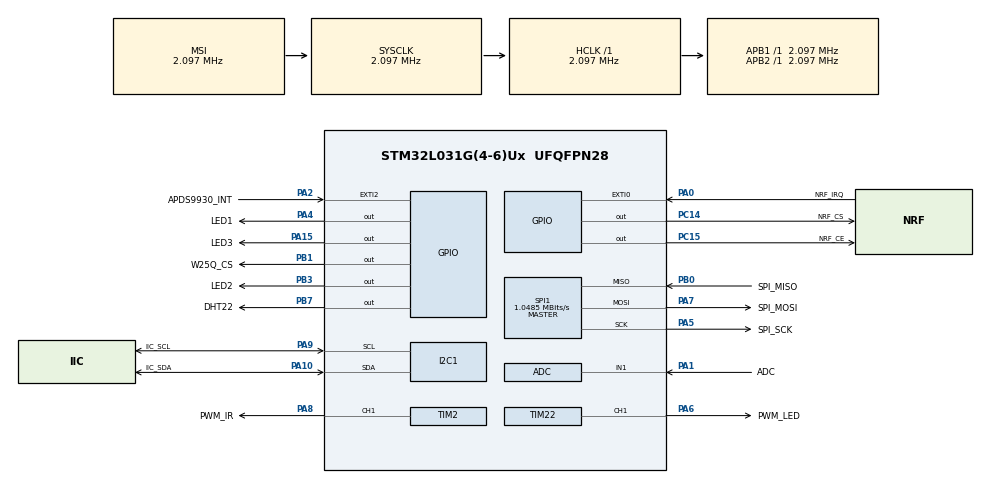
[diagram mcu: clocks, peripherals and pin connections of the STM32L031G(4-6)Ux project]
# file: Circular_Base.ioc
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Dma.I2C1_RX.0.Direction=DMA_PERIPH_TO_MEMORY
Dma.I2C1_RX.0.Instance=DMA1_Channel7
Dma.I2C1_RX.0.MemDataAlignment=DMA_MDATAALIGN_BYTE
Dma.I2C1_RX.0.MemInc=DMA_MINC_ENABLE
Dma.I2C1_RX.0.Mode=DMA_NORMAL
Dma.I2C1_RX.0.PeriphDataAlignment=DMA_PDATAALIGN_BYTE
Dma.I2C1_RX.0.PeriphInc=DMA_PINC_DISABLE
Dma.I2C1_RX.0.Priority=DMA_PRIORITY_LOW
Dma.I2C1_TX.1.Direction=DMA_MEMORY_TO_PERIPH
Dma.I2C1_TX.1.Instance=DMA1_Channel6
Dma.I2C1_TX.1.MemDataAlignment=DMA_MDATAALIGN_BYTE
Dma.I2C1_TX.1.MemInc=DMA_MINC_ENABLE
Dma.I2C1_TX.1.Mode=DMA_NORMAL
Dma.I2C1_TX.1.PeriphDataAlignment=DMA_PDATAALIGN_BYTE
Dma.I2C1_TX.1.PeriphInc=DMA_PINC_DISABLE
Dma.I2C1_TX.1.Priority=DMA_PRIORITY_LOW
Dma.Request0=I2C1_RX
Dma.Request1=I2C1_TX
Dma.Request2=SPI1_RX
Dma.Request3=SPI1_TX
Dma.SPI1_RX.2.Direction=DMA_PERIPH_TO_MEMORY
Dma.SPI1_RX.2.Instance=DMA1_Channel2
Dma.SPI1_RX.2.MemDataAlignment=DMA_MDATAALIGN_BYTE
Dma.SPI1_RX.2.MemInc=DMA_MINC_ENABLE
Dma.SPI1_RX.2.Mode=DMA_NORMAL
Dma.SPI1_RX.2.PeriphDataAlignment=DMA_PDATAALIGN_BYTE
Dma.SPI1_RX.2.PeriphInc=DMA_PINC_DISABLE
Dma.SPI1_RX.2.Priority=DMA_PRIORITY_LOW
Dma.SPI1_TX.3.Direction=DMA_MEMORY_TO_PERIPH
Dma.SPI1_TX.3.Instance=DMA1_Channel3
Dma.SPI1_TX.3.MemDataAlignment=DMA_MDATAALIGN_BYTE
Dma.SPI1_TX.3.MemInc=DMA_MINC_ENABLE
Dma.SPI1_TX.3.Mode=DMA_NORMAL
Dma.SPI1_TX.3.PeriphDataAlignment=DMA_PDATAALIGN_BYTE
Dma.SPI1_TX.3.PeriphInc=DMA_PINC_DISABLE
Dma.SPI1_TX.3.Priority=DMA_PRIORITY_LOW
FREERTOS.Tasks01=defaultTask,0,128,StartDefaultTask,Default,NULL,Dynamic,NULL,NULL
FREERTOS.configMINIMAL_STACK_SIZE=64
FREERTOS.configTOTAL_HEAP_SIZE=5120
Mcu.Family=STM32L0
Mcu.Name=STM32L031G(4-6)Ux
Mcu.Package=UFQFPN28
NVIC.DMA1_Channel2_3_IRQn=true\:3\:0\:false\:false\:true\:true\:false\:true\:true
NVIC.DMA1_Channel4_5_6_7_IRQn=true\:3\:0\:false\:false\:true\:true\:false\:true\:true
NVIC.I2C1_IRQn=true\:3\:0\:false\:false\:true\:true\:true\:true\:true
NVIC.TIM21_IRQn=true\:3\:0\:false\:false\:true\:false\:false\:true\:true
NVIC.TimeBase=TIM21_IRQn
NVIC.TimeBaseIP=TIM21
PA0-CK_IN.GPIO_Label=NRF_IRQ
PA0-CK_IN.Signal=GPXTI0
PA1.GPIO_Label=ADC
PA1.Mode=IN1
PA1.Signal=ADC_IN1
PA10.GPIO_Label=IIC_SDA
PA10.Mode=I2C
PA10.Signal=I2C1_SDA
PA13.Mode=Serial_Wire
PA13.Signal=SYS_SWDIO
PA14.Mode=Serial_Wire
PA14.Signal=SYS_SWCLK
PA15.GPIO_Label=LED3
PA15.Signal=GPIO_Output
PA2.GPIO_Label=APDS9930_INT
PA2.Signal=GPXTI2
PA3.Signal=USART2_RX
PA4.GPIO_Label=LED1
PA4.Signal=GPIO_Output
PA5.GPIO_Label=SPI_SCK
PA5.Mode=Full_Duplex_Master
PA5.Signal=SPI1_SCK
PA6.GPIO_Label=PWM_LED
PA6.Signal=S_TIM22_CH1
PA7.GPIO_Label=SPI_MOSI
PA7.Mode=Full_Duplex_Master
PA7.Signal=SPI1_MOSI
PA8.GPIO_Label=PWM_IR
PA8.Signal=S_TIM2_CH1
PA9.GPIO_Label=IIC_SCL
PA9.Mode=I2C
PA9.Signal=I2C1_SCL
PB0.GPIO_Label=SPI_MISO
PB0.Mode=Full_Duplex_Master
PB0.Signal=SPI1_MISO
PB1.GPIO_Label=W25Q_CS
PB1.Signal=GPIO_Output
PB3.GPIO_Label=LED2
PB3.Signal=GPIO_Output
PB6.Signal=USART2_TX
PB7.GPIO_Label=DHT22
PB7.Signal=GPIO_Output
PC14-OSC32_IN.GPIO_Label=NRF_CS
PC14-OSC32_IN.Signal=GPIO_Output
PC15-OSC32_OUT.GPIO_Label=NRF_CE
PC15-OSC32_OUT.Signal=GPIO_Output
ProjectManager.HeapSize=0x200
ProjectManager.StackSize=0x400
ProjectManager.TargetToolchain=MDK-ARM V5.32
RCC.AHBFreq_Value=2097000
RCC.APB1Freq_Value=2097000
RCC.APB1TimFreq_Value=2097000
RCC.APB2Freq_Value=2097000
RCC.APB2TimFreq_Value=2097000
RCC.HSE_VALUE=8000000
RCC.HSI16_VALUE=16000000
RCC.HSI_VALUE=16000000
RCC.LSE_VALUE=32768
RCC.MSI_VALUE=2097000
RCC.SYSCLKFreq_VALUE=2097000
RCC.VCOOutputFreq_Value=48000000
SH.S_TIM22_CH1.0=TIM22_CH1,PWM Generation1 CH1
SH.S_TIM2_CH1.0=TIM2_CH1,Output Compare1 CH1
SPI1.CalculateBaudRate=1.0485 MBits/s
SPI1.Direction=SPI_DIRECTION_2LINES
SPI1.Mode=SPI_MODE_MASTER
SPI1.VirtualType=VM_MASTER
TIM2.Channel-Output\ Compare1\ CH1=TIM_CHANNEL_1
TIM22.Channel-PWM\ Generation1\ CH1=TIM_CHANNEL_1
VP_FREERTOS_VS_CMSIS_V1.Mode=CMSIS_V1
VP_SYS_VS_tim21.Mode=TIM21
VP_TIM22_VS_ClockSourceINT.Mode=Internal
VP_TIM2_VS_ClockSourceINT.Mode=Internal
board=custom

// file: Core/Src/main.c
/* USER CODE BEGIN Header */
/**
  ******************************************************************************
  * @file           : main.c
  * @brief          : Main program body
  ******************************************************************************
  * @attention
  *
  * Copyright (c) 2023 STMicroelectronics.
  * All rights reserved.
  *
  * This software is licensed under terms that can be found in the LICENSE file
  * in the root directory of this software component.
  * If no LICENSE file comes with this software, it is provided AS-IS.
  *
  ******************************************************************************
  */
/* USER CODE END Header */
#include "main.h"
#include "cmsis_os.h"
#include "adc.h"
#include "dma.h"
#include "i2c.h"
#include "spi.h"
#include "tim.h"
#include "gpio.h"

void SystemClock_Config(void);
void MX_FREERTOS_Init(void);

int main(void)
{

  /* MCU Configuration--------------------------------------------------------*/

  /* Reset of all peripherals, Initializes the Flash interface and the Systick. */
  HAL_Init();

  /* Configure the system clock */
  SystemClock_Config();

  /* Initialize all configured peripherals */
  MX_GPIO_Init();
  MX_DMA_Init();
  MX_I2C1_Init();
  MX_SPI1_Init();
  MX_ADC_Init();
  MX_TIM2_Init();
  MX_TIM22_Init();

  /* Call init function for freertos objects (in freertos.c) */
  MX_FREERTOS_Init();

  /* Start scheduler */
  osKernelStart();

  /* We should never get here as control is now taken by the scheduler */
  /* Infinite loop */
  while (1)
  {

  }
}

void SystemClock_Config(void)
{
  RCC_OscInitTypeDef RCC_OscInitStruct = {0};
  RCC_ClkInitTypeDef RCC_ClkInitStruct = {0};
  RCC_PeriphCLKInitTypeDef PeriphClkInit = {0};

  /** Configure the main internal regulator output voltage
  */
  __HAL_PWR_VOLTAGESCALING_CONFIG(PWR_REGULATOR_VOLTAGE_SCALE1);

  /** Initializes the RCC Oscillators according to the specified parameters
  * in the RCC_OscInitTypeDef structure.
  */
  RCC_OscInitStruct.OscillatorType = RCC_OSCILLATORTYPE_MSI;
  RCC_OscInitStruct.MSIState = RCC_MSI_ON;
  RCC_OscInitStruct.MSICalibrationValue = 0;
  RCC_OscInitStruct.MSIClockRange = RCC_MSIRANGE_5;
  RCC_OscInitStruct.PLL.PLLState = RCC_PLL_NONE;
  if (HAL_RCC_OscConfig(&RCC_OscInitStruct) != HAL_OK)
  {
    Error_Handler();
  }

  /** Initializes the CPU, AHB and APB buses clocks
  */
  RCC_ClkInitStruct.ClockType = RCC_CLOCKTYPE_HCLK|RCC_CLOCKTYPE_SYSCLK
                              |RCC_CLOCKTYPE_PCLK1|RCC_CLOCKTYPE_PCLK2;
  RCC_ClkInitStruct.SYSCLKSource = RCC_SYSCLKSOURCE_MSI;
  RCC_ClkInitStruct.AHBCLKDivider = RCC_SYSCLK_DIV1;
  RCC_ClkInitStruct.APB1CLKDivider = RCC_HCLK_DIV1;
  RCC_ClkInitStruct.APB2CLKDivider = RCC_HCLK_DIV1;

  if (HAL_RCC_ClockConfig(&RCC_ClkInitStruct, FLASH_LATENCY_0) != HAL_OK)
  {
    Error_Handler();
  }
  PeriphClkInit.PeriphClockSelection = RCC_PERIPHCLK_I2C1;
  PeriphClkInit.I2c1ClockSelection = RCC_I2C1CLKSOURCE_PCLK1;
  if (HAL_RCCEx_PeriphCLKConfig(&PeriphClkInit) != HAL_OK)
  {
    Error_Handler();
  }
}

void HAL_TIM_PeriodElapsedCallback(TIM_HandleTypeDef *htim)
{
  if (htim->Instance == TIM21) {
    HAL_IncTick();
  }
}

void Error_Handler(void)
{
  __disable_irq();
  while (1)
  {
  }
}

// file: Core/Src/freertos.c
/* USER CODE BEGIN Header */
/**
  ******************************************************************************
  * File Name          : freertos.c
  * Description        : Code for freertos applications
  ******************************************************************************
  * @attention
  *
  * Copyright (c) 2023 STMicroelectronics.
  * All rights reserved.
  *
  * This software is licensed under terms that can be found in the LICENSE file
  * in the root directory of this software component.
  * If no LICENSE file comes with this software, it is provided AS-IS.
  *
  ******************************************************************************
  */
/* USER CODE END Header */

#include "FreeRTOS.h"
#include "task.h"
#include "main.h"
#include "cmsis_os.h"

/* USER CODE BEGIN Includes */
#include "../common.h"
/* USER CODE END Includes */

osThreadId defaultTaskHandle;

void StartDefaultTask(void const * argument);

void MX_FREERTOS_Init(void); /* (MISRA C 2004 rule 8.1) */

/* GetIdleTaskMemory prototype (linked to static allocation support) */
void vApplicationGetIdleTaskMemory( StaticTask_t **ppxIdleTaskTCBBuffer, StackType_t **ppxIdleTaskStackBuffer, uint32_t *pulIdleTaskStackSize );

/* USER CODE BEGIN GET_IDLE_TASK_MEMORY */
static StaticTask_t xIdleTaskTCBBuffer;
static StackType_t xIdleStack[configMINIMAL_STACK_SIZE];

void vApplicationGetIdleTaskMemory( StaticTask_t **ppxIdleTaskTCBBuffer, StackType_t **ppxIdleTaskStackBuffer, uint32_t *pulIdleTaskStackSize )
{
  *ppxIdleTaskTCBBuffer = &xIdleTaskTCBBuffer;
  *ppxIdleTaskStackBuffer = &xIdleStack[0];
  *pulIdleTaskStackSize = configMINIMAL_STACK_SIZE;
  /* place for user code */
}
/* USER CODE END GET_IDLE_TASK_MEMORY */

void MX_FREERTOS_Init(void) {

  /* Create the thread(s) */
  /* definition and creation of defaultTask */
  osThreadDef(defaultTask, StartDefaultTask, osPriorityNormal, 0, 128);
  defaultTaskHandle = osThreadCreate(osThread(defaultTask), NULL);

}

void StartDefaultTask(void const * argument)
{
  /* USER CODE BEGIN StartDefaultTask */
  /* Infinite loop */
  for(;;)
  {
    osDelay(1);

		Tx_Mode();
		Rx_Mode();
		nrf_init();
		nrf_send_data();
		nrf_register_device();
		nrf_parse_data();//解析数据

		APDS9930_init();
		APDS9930_interrupt();

		W25Qx_ReadDeviceID();//读取DeviceID
		W25Qx_ReadJedecDeviceID();//读取JedecDeviceID
		Erase_W25Qx_Chip();//擦除整块芯片
		Erase_Write_data_Sector(0,0);//擦除需要写入数据空间的块
		W25Qx_Write_Page(NULL,0, 0);//多页写入数据
		W25Qx_Read_data(NULL,0,0);//读取多页数据
		W25Qx_PowerDown();//掉电模式
		W25Qx_WAKEUP();//唤醒
		w25qFlash_read();//读取应用掉电保存的信息

		Wkup0_Check_Up_OS(  );
		Wkup0_Check_Up_HAL(  );
		enter_standbyMode(  );
		judge_if_Rest();

		OLED_Init();
		OLED_Clear();
		OLED_ShowChar(0, 0, (char)0);
		OLED_ShowString(0, 0, NULL);
		OLED_ShowNum(0, 0, 0, 0);
		OLED_ShowSignedNum(0, 0, 0, 0);
		OLED_ShowHexNum(0, 0, 0, 0);
		OLED_ShowBinNum(0, 0, 0, 0);
		OLED_Clear_Part(0, 0, 0);
		OLED_ShowWord(0, 0, 0);
		OLED_ShowChinese(0, 0, NULL,0);

		vTaskDelete(defaultTaskHandle);
  }
  /* USER CODE END StartDefaultTask */
}
